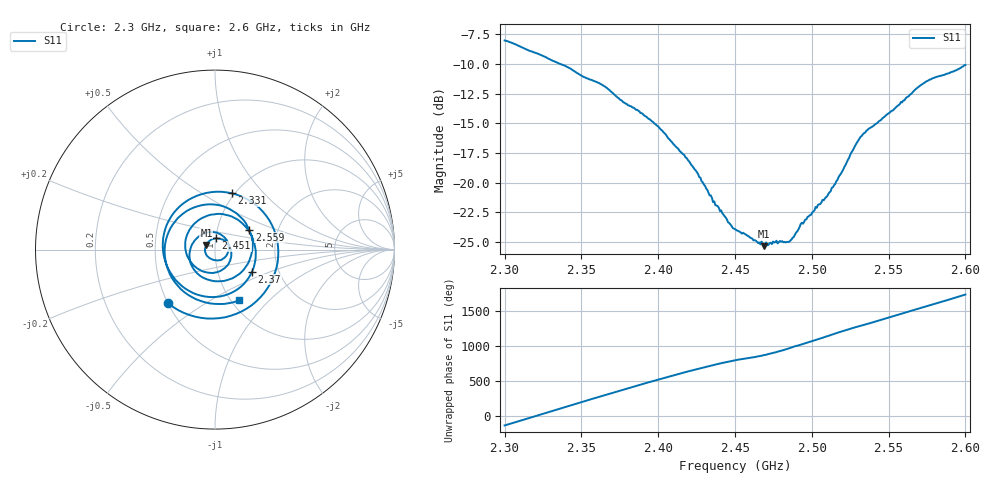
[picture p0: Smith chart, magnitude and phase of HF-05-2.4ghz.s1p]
! NanoVNA-App
! Date: 2026-05-22 18:38:49
! Start: 2.3GHz Stop: 2.6GHz Points: 401
! S-Parameter data: F S11
# Hz S RI R 50
!  Frequency  S11_Real  S11_Imag
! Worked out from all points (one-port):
!   401 points, 2.3 GHz to 2.6 GHz, reference 50 ohm
!   lowest |S11| = -25.3 dB at 2.469 GHz (marker M1), VSWR 1.11, Z = 45.4 + j2.31 ohm
!   |S11| at or under -10 dB: 2.336 GHz to end of sweep
!   S11 on the Smith chart (normalised r, x): 2.3 GHz: 0.50, -0.36; 2.331 GHz: 0.97, +0.68; 2.37 GHz: 1.46, -0.38; 2.451 GHz: 1.00, +0.13; 2.559 GHz: 1.43, +0.33; 2.6 GHz: 1.08, -0.68
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2.3e9  -0.2596 -0.3
2.30825e9  0.0876 -0.3685
2.31725e9  0.3426 -0.1005
2.32325e9  0.3161 0.1391
2.33075e9  0.0933 0.3137
2.3375e9  -0.1496 0.2758
2.3465e9  -0.2909 0.0128
2.35625e9  -0.1241 -0.241
2.36975e9  0.2063 -0.1226
2.375e9  0.2235 0.015
2.3885e9  -0.00436 0.1962
2.39975e9  -0.1634 0.0564
2.4125e9  -0.073 -0.1193
2.429e9  0.0885 -0.0472
2.45e9  0.012 0.0626
2.4515e9  0.00632 0.0625
2.46875e9  -0.0477 0.0254
2.4875e9  -0.00423 -0.0585
2.5055e9  0.0712 0.0391
2.525e9  -0.1277 0.029
2.53325e9  -0.125 -0.0994
2.543e9  0.0338 -0.1759
2.5595e9  0.1917 0.111
2.5625e9  0.1482 0.1756
2.57225e9  -0.0972 0.2412
2.58275e9  -0.2803 0.0054
2.5925e9  -0.127 -0.2653
2.6e9  0.1322 -0.2836
